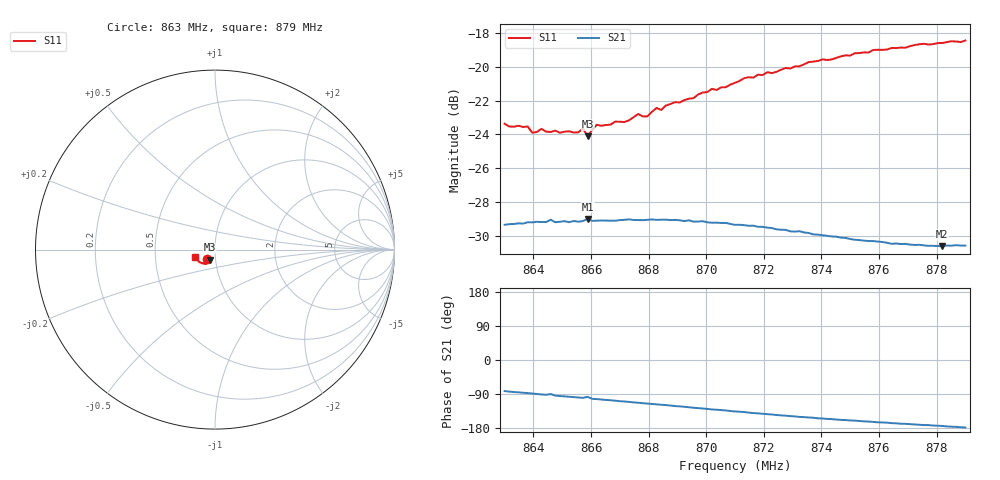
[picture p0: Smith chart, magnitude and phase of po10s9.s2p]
# HZ S RI R 50
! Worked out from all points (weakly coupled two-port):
!   101 points, 863 MHz to 879 MHz, reference 50 ohm
!   highest |S21| = -28.99 dB at 865.88 MHz (marker M1); lowest = -30.6 dB at 878.2 MHz (marker M2)
!   lowest |S11| = -24.1 dB at 865.88 MHz (marker M3), VSWR 1.13, Z = 47 - j5.24 ohm
!   |S11| at or under -10 dB: start of sweep to end of sweep
!   S12 and S22 are empty: the file has one direction only
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8.63e8  -0.0443 -0.0514  0.0048 -0.0338  0 0  0 0
8.6316e8  -0.0425 -0.0512  0.00394 -0.0341  0 0  0 0
8.638e8  -0.0399 -0.0533  0.00163 -0.0347  0 0  0 0
8.6396e8  -0.038 -0.0513  0.000971 -0.0347  0 0  0 0
8.6428e8  -0.0369 -0.0542  -0.000512 -0.0348  0 0  0 0
8.6444e8  -0.0366 -0.0529  -0.00108 -0.0348  0 0  0 0
8.646e8  -0.0334 -0.0548  6.7e-05 -0.0354  0 0  0 0
8.6556e8  -0.0328 -0.0549  -0.0054 -0.0345  0 0  0 0
8.6572e8  -0.0322 -0.0573  -0.00606 -0.0345  0 0  0 0
8.6588e8  -0.0283 -0.0556  -0.00445 -0.0353  0 0  0 0
8.662e8  -0.0331 -0.0587  -0.00799 -0.0342  0 0  0 0
8.6716e8  -0.0309 -0.0613  -0.0118 -0.0333  0 0  0 0
8.6764e8  -0.0336 -0.0643  -0.0137 -0.0325  0 0  0 0
8.6796e8  -0.0328 -0.0634  -0.015 -0.032  0 0  0 0
8.6828e8  -0.0339 -0.0675  -0.016 -0.0315  0 0  0 0
8.6844e8  -0.034 -0.0663  -0.0167 -0.0312  0 0  0 0
8.686e8  -0.0341 -0.0688  -0.0172 -0.0309  0 0  0 0
8.71e8  -0.0472 -0.0761  -0.0245 -0.0238  0 0  0 0
8.7372e8  -0.0697 -0.0764  -0.0284 -0.0148  0 0  0 0
8.7644e8  -0.0942 -0.0633  -0.0292 -0.00696  0 0  0 0
8.782e8  -0.1074 -0.0472  -0.0294 -0.00308  0 0  0 0
8.79e8  -0.1127 -0.0394  -0.0297 -0.00094  0 0  0 0
